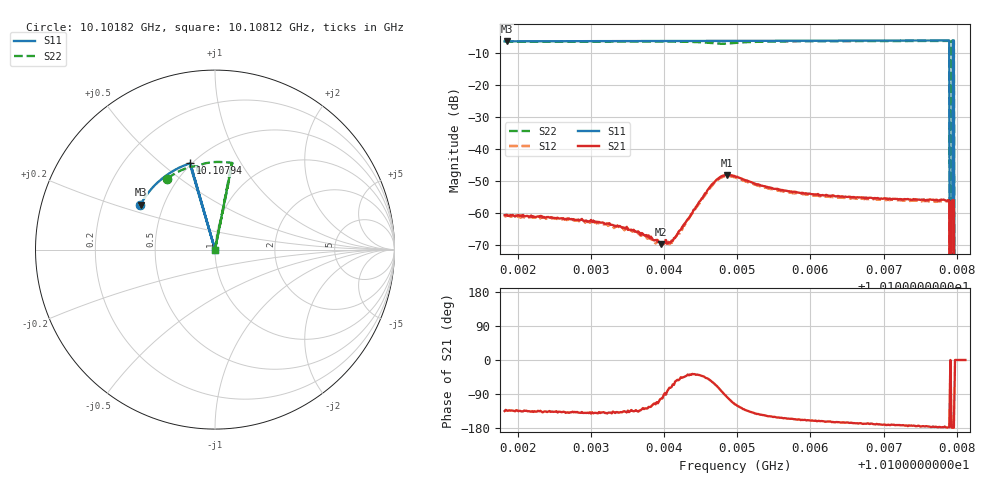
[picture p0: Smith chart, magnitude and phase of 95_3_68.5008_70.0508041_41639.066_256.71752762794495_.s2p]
#  HZ  S  RI  R  50.00
! Rohde & Schwarz Vector Network Analyzer
! Rohde-Schwarz,ZNB20-2Port,1311601062101988,3.16
! Created: UTC 3/20/2024, 5:07:58 PM
! freq[Hz]  re:S11  im:S11  re:S21  im:S21  re:S12  im:S12  re:S22  im:S22
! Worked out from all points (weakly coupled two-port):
!   401 points, 10.10182 GHz to 10.10812 GHz, reference 50 ohm
!   highest |S21| = -48.14 dB at 10.10486 GHz (marker M1); lowest = -69.9 dB at 10.10396 GHz (marker M2)
!   lowest |S11| = -6.3 dB at 10.10185 GHz (marker M3), VSWR 2.88, Z = 18.5 + j12.1 ohm
!   |S11| at or under -10 dB: 10.1079 GHz to 10.10794 GHz (46.59 kHz wide, 0.000461 % of centre); 10.10796 GHz to end of sweep
!   |S22| runs from - to -6.2 dB; largest |S21 - S12| = 0.00043
!   S11 on the Smith chart (normalised r, x): 10.10182 GHz: 0.37, +0.24; 10.10794 GHz: 0.49, +0.63; 10.10812 GHz: 1.00, +0.00
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1.0101819e10  -0.4159 0.2482  -0.000643 -0.000652  -0.000549 -0.000701  -0.2654 0.3959
1.010185e10  -0.4149 0.2499  -0.00064 -0.000673  -0.000548 -0.000719  -0.2637 0.3972
1.0102874e10  -0.3821 0.3027  -0.000587 -0.000543  -0.000528 -0.000538  -0.2069 0.4327
1.0103519e10  -0.358 0.3338  -0.000401 -0.000367  -0.000351 -0.000417  -0.1673 0.4509
1.0103929e10  -0.3415 0.3523  -0.000113 -0.000333  -6.34e-05 -0.000316  -0.1393 0.4601
1.010396e10  -0.3403 0.3538  -6.53e-05 -0.000312  -4.12e-05 -0.00032  -0.1371 0.4607
1.0104118e10  -0.3335 0.3605  0.000158 -0.000325  0.000174 -0.000314  -0.125 0.4631
1.0104637e10  -0.3106 0.3821  0.00153 -0.00217  0.00163 -0.00193  -0.0815 0.4489
1.0104858e10  -0.3008 0.3906  -0.000521 -0.00388  -0.000184 -0.00376  -0.0946 0.4365
1.0104968e10  -0.2956 0.3949  -0.0017 -0.00331  -0.00134 -0.00333  -0.0994 0.4467
1.0105488e10  -0.2707 0.4142  -0.00207 -0.00118  -0.0019 -0.00132  -0.067 0.4768
1.0106023e10  -0.2435 0.4321  -0.00183 -0.000679  -0.00168 -0.000795  -0.0293 0.4852
1.0107078e10  -0.1873 0.4619  -0.00165 -0.000238  -0.00153 -0.000378  0.0409 0.4882
1.0107865e10  -0.1428 0.4792  -0.00154 -4.48e-05  -0.0015 -0.000193  0.0913 0.4833
1.0107881e10  -0.1419 0.4793  -0.00157 -5.82e-05  -0.00149 -0.000182  0.0925 0.4831
1.0107897e10  -0.1408 0.4797  -0.00156 -7.74e-05  -0.00149 -0.000225  0.0935 0.4829
1.0107928e10  0 0  -0.00152 -3.98e-05  -0.00146 -0.000202  0.0954 0.4826
1.0107944e10  -0.1382 0.4806  -0.00157 -3.34e-05  -0.0015 -0.000189  0.0965 0.4823
1.010796e10  -0.1372 0.4808  -0.00155 -3.44e-05  -0.00147 -0.000168  0.0974 0.4823
1.0107976e10  0 0  0 0  0 0  0 0
1.0108007e10  0 0  0 0  0 0  0 0
1.0108117e10  0 0  0 0  0 0  0 0
